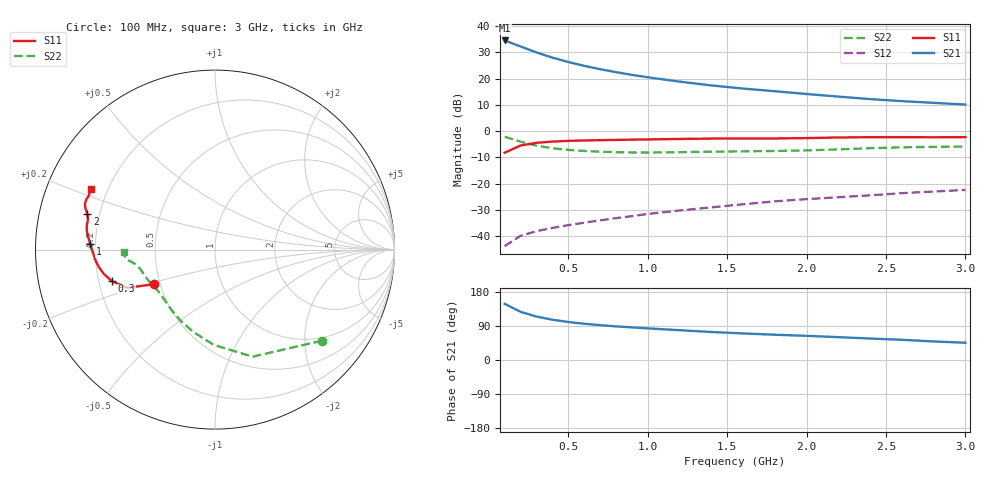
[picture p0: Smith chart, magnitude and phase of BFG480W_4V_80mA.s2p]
! Filename: 480BFG480.001
! Title: BFG480W
! Bias: Vce=4V; Ic=80mA
! Company: Philips Semiconductors NL
! User: Quality&Reliability T&D
! Measure time: 10 Nov 1999 / 12:03:35
#  MHz  S  MA  R 50
! Freq  S11  S21  S12  S22  :
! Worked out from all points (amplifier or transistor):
!   20 points, 100 MHz to 3 GHz, reference 50 ohm
!   highest |S21| = 34.5 dB at 100 MHz (marker M1)
!   |S21| within 3 dB of that: start of sweep to 232.2 MHz
!   unconditionally stable (mu >= 1): 797.3 MHz to end of sweep
!   at 400 MHz: K = 0.76, MSG = 32.4 dB, |S12| = -36.8 dB
!   at 1.2 GHz: K = 1.07, MAG = 22.9 dB, |S12| = -30.2 dB
!   at 3 GHz: K = 1.05, MAG = 14.9 dB, |S12| = -22.3 dB
!   S11 on the Smith chart (normalised r, x): 100 MHz: 0.47, -0.21; 300 MHz: 0.26, -0.14; 1 GHz: 0.18, +0.02; 2 GHz: 0.15, +0.13; 3 GHz: 0.14, +0.23
100  0.3883 -150.3  53 148.2  0.006509 68.5  0.7832 -40.4
200  0.5334 -156.5  40.82 127.2  0.01023 59.3  0.6323 -70.6
300  0.5999 -162.9  31.41 114.7  0.01255 57.6  0.5309 -90.8
400  0.6335 -167.6  25.03 106.3  0.01447 58.7  0.4737 -105.0
500  0.6531 -171.2  20.65 100.3  0.01632 60.6  0.4407 -115.4
600  0.6655 -174.1  17.46 95.7  0.01817 62.5  0.4205 -123.2
700  0.6739 -176.6  15.09 92.0  0.02012 64.7  0.4071 -129.3
800  0.6811 -178.8  13.25 88.8  0.02217 66.5  0.3983 -134.4
900  0.6889 179.2  11.77 86.1  0.0242 68.4  0.3934 -138.8
1000  0.6961 177.3  10.59 83.5  0.02661 69.6  0.3923 -142.7
1200  0.7108 174.2  8.742 78.7  0.03101 71.6  0.3979 -149.1
1400  0.7216 171.8  7.404 74.0  0.03553 72.7  0.4071 -153.9
1600  0.7269 169.4  6.458 70.1  0.04067 73.8  0.4131 -157.5
1800  0.7273 166.7  5.743 66.7  0.0463 74.5  0.4199 -161.3
2000  0.7377 164.4  5.084 63.8  0.05101 75.4  0.4307 -165.7
2200  0.7579 162.3  4.539 60.3  0.05542 75.3  0.45 -169.5
2400  0.7686 160.5  4.071 56.6  0.06025 74.9  0.4744 -172.0
2600  0.7691 158.8  3.722 53.3  0.06631 74.3  0.4933 -173.5
2800  0.7649 156.6  3.452 48.9  0.07105 73.0  0.5024 -175.3
3000  0.77 153.9  3.206 45.5  0.07638 72.3  0.5098 -178.2
